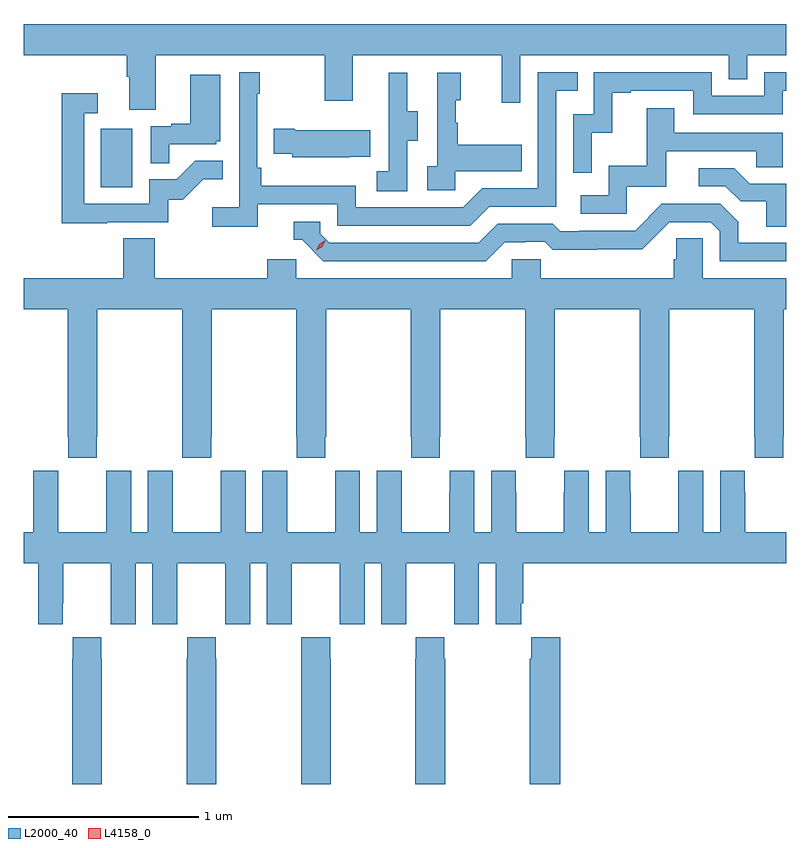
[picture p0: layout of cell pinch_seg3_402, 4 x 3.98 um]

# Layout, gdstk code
import gdstk
lib = gdstk.Library(unit=1e-6, precision=1e-09)
def R(c, l, rs):  # rectangles x0, y0, x1, y1
    for r in rs: c.add(gdstk.rectangle(r[:2], r[2:], *l))
def P(c, l, *ps):  # polygons
    for p in ps: c.add(gdstk.Polygon(p, *l))
L2000_40 = (2000, 40)
L4158_0 = (4158, 0)

pinch_seg3_402 = lib.new_cell('pinch_seg3_402')
R(pinch_seg3_402, L2000_40, [(912.794,696.228,912.958,696.535)])
P(pinch_seg3_402, L2000_40, [(912.388,696.92),(912.929,696.92),(912.929,696.808),(912.941,696.808),(912.941,696.634),(913.081,696.634),(913.081,696.92),(913.966,696.92),(913.966,696.681),(914.113,696.681),(914.113,696.92),(914.894,696.92),(914.894,696.672),(914.991,696.672),(914.991,696.92),(916.086,696.92),(916.086,696.793),(916.182,696.793),(916.182,696.92),(916.388,696.92),(916.388,697.084),(912.388,697.084)],
  [(913.616,696.138),(914.034,696.138),(914.034,696.027),(914.731,696.027),(914.83,696.126),(915.18,696.126),(915.18,696.735),(915.293,696.735),(915.293,696.831),(915.084,696.831),(915.084,696.222),(914.793,696.222),(914.694,696.123),(914.13,696.123),(914.13,696.235),(913.634,696.235),(913.634,696.331),(913.614,696.331),(913.614,696.719),(913.627,696.719),(913.627,696.832),(913.518,696.832),(913.518,696.124),(913.377,696.124),(913.377,696.022),(913.616,696.022)],
  [(915.366,696.515),(915.476,696.515),(915.476,696.723),(915.571,696.723),(915.571,696.735),(915.9,696.735),(915.9,696.612),(916.368,696.612),(916.368,696.735),(916.388,696.735),(916.388,696.831),(916.272,696.831),(916.272,696.708),(915.996,696.708),(915.996,696.831),(915.378,696.831),(915.378,696.612),(915.27,696.612),(915.27,696.303),(915.366,696.303)],
  [(914.4,696.472),(914.455,696.472),(914.455,696.627),(914.401,696.627),(914.401,696.829),(914.303,696.829),(914.303,696.615),(914.304,696.615),(914.304,696.311),(914.241,696.311),(914.241,696.208),(914.4,696.208)],
  [(914.652,696.311),(914.999,696.311),(914.999,696.451),(914.665,696.451),(914.665,696.566),(914.655,696.566),(914.655,696.684),(914.68,696.684),(914.68,696.829),(914.556,696.829),(914.556,696.338),(914.505,696.338),(914.505,696.213),(914.652,696.213)],
  [(913.151,696.453),(913.398,696.453),(913.398,696.468),(913.42,696.468),(913.42,696.817),(913.262,696.817),(913.262,696.562),(913.163,696.562),(913.163,696.549),(913.056,696.549),(913.056,696.355),(913.151,696.355)],
  [(912.827,696.045),(913.146,696.045),(913.146,696.162),(913.222,696.162),(913.329,696.269),(913.433,696.269),(913.433,696.368),(913.289,696.368),(913.191,696.27),(913.047,696.27),(913.047,696.141),(912.705,696.141),(912.705,696.615),(912.778,696.615),(912.778,696.721),(912.589,696.721),(912.589,696.04),(912.827,696.04)],
  [(915.552,696.231),(915.757,696.231),(915.757,696.417),(916.231,696.417),(916.231,696.333),(916.368,696.333),(916.368,696.513),(915.799,696.513),(915.799,696.643),(915.655,696.643),(915.655,696.34),(915.456,696.34),(915.456,696.186),(915.309,696.186),(915.309,696.09),(915.552,696.09)],
  [(914.099,696.389),(914.207,696.389),(914.207,696.526),(913.81,696.526),(913.81,696.534),(913.699,696.534),(913.699,696.404),(913.797,696.404),(913.797,696.386),(914.099,696.386)],
  [(916.388,696.246),(916.195,696.246),(916.114,696.327),(915.927,696.327),(915.927,696.234),(916.068,696.234),(916.148,696.154),(916.283,696.154),(916.283,696.022),(916.388,696.022)],
  [(914.911,695.94),(915.018,695.94),(915.018,695.943),(915.121,695.943),(915.163,695.901),(915.396,695.901),(915.396,695.903),(915.632,695.903),(915.774,696.045),(915.99,696.045),(916.038,695.997),(916.038,695.841),(916.388,695.841),(916.388,695.937),(916.135,695.937),(916.135,696.047),(916.041,696.141),(915.735,696.141),(915.594,696),(915.301,696),(915.301,695.997),(915.202,695.997),(915.163,696.036),(914.874,696.036),(914.775,695.937),(913.992,695.937),(913.944,695.985),(913.944,696.048),(913.805,696.048),(913.805,695.952),(913.848,695.952),(913.959,695.841),(914.812,695.841)],
  [(913.219,694.921),(913.221,694.921),(913.221,694.809),(913.371,694.809),(913.371,694.921),(913.374,694.921),(913.374,695.588),(913.819,695.588),(913.819,694.921),(913.821,694.921),(913.821,694.809),(913.971,694.809),(913.971,694.921),(913.974,694.921),(913.974,695.588),(914.419,695.588),(914.419,694.921),(914.421,694.921),(914.421,694.809),(914.571,694.809),(914.571,694.921),(914.574,694.921),(914.574,695.588),(915.019,695.588),(915.019,694.921),(915.021,694.921),(915.021,694.809),(915.171,694.809),(915.171,694.921),(915.174,694.921),(915.174,695.588),(915.619,695.588),(915.619,694.921),(915.621,694.921),(915.621,694.809),(915.771,694.809),(915.771,694.921),(915.774,694.921),(915.774,695.588),(916.219,695.588),(916.219,694.921),(916.221,694.921),(916.221,694.809),(916.371,694.809),(916.371,694.921),(916.374,694.921),(916.374,695.588),(916.388,695.588),(916.388,695.752),(915.948,695.752),(915.948,695.96),(915.811,695.96),(915.811,695.85),(915.797,695.85),(915.797,695.752),(915.099,695.752),(915.099,695.85),(914.949,695.85),(914.949,695.752),(913.818,695.752),(913.818,695.85),(913.667,695.85),(913.667,695.752),(913.076,695.752),(913.076,695.96),(912.911,695.96),(912.911,695.752),(912.388,695.752),(912.388,695.588),(912.619,695.588),(912.619,694.921),(912.621,694.921),(912.621,694.809),(912.771,694.809),(912.771,694.921),(912.774,694.921),(912.774,695.588),(913.219,695.588)],
  [(912.594,694.048),(912.595,694.048),(912.595,694.256),(912.845,694.256),(912.845,694.048),(912.846,694.048),(912.846,693.936),(912.976,693.936),(912.976,694.256),(913.064,694.256),(913.064,693.936),(913.194,693.936),(913.194,694.048),(913.195,694.048),(913.195,694.256),(913.445,694.256),(913.445,694.048),(913.446,694.048),(913.446,693.936),(913.576,693.936),(913.576,694.256),(913.664,694.256),(913.664,693.936),(913.794,693.936),(913.794,694.048),(913.795,694.048),(913.795,694.256),(914.045,694.256),(914.045,694.048),(914.046,694.048),(914.046,693.936),(914.176,693.936),(914.176,694.256),(914.264,694.256),(914.264,693.936),(914.394,693.936),(914.394,694.048),(914.395,694.048),(914.395,694.256),(914.645,694.256),(914.645,694.048),(914.646,694.048),(914.646,693.936),(914.776,693.936),(914.776,694.256),(914.864,694.256),(914.864,693.936),(914.998,693.936),(914.998,694.048),(915.008,694.048),(915.008,694.256),(916.388,694.256),(916.388,694.42),(916.171,694.42),(916.171,694.628),(916.17,694.628),(916.17,694.741),(916.04,694.741),(916.04,694.42),(915.952,694.42),(915.952,694.741),(915.822,694.741),(915.822,694.628),(915.821,694.628),(915.821,694.42),(915.571,694.42),(915.571,694.628),(915.57,694.628),(915.57,694.741),(915.44,694.741),(915.44,694.42),(915.352,694.42),(915.352,694.741),(915.222,694.741),(915.222,694.628),(915.221,694.628),(915.221,694.42),(914.971,694.42),(914.971,694.628),(914.97,694.628),(914.97,694.741),(914.84,694.741),(914.84,694.42),(914.752,694.42),(914.752,694.741),(914.622,694.741),(914.622,694.628),(914.621,694.628),(914.621,694.42),(914.371,694.42),(914.371,694.628),(914.37,694.628),(914.37,694.741),(914.24,694.741),(914.24,694.42),(914.152,694.42),(914.152,694.741),(914.022,694.741),(914.022,694.628),(914.021,694.628),(914.021,694.42),(913.771,694.42),(913.771,694.628),(913.77,694.628),(913.77,694.741),(913.64,694.741),(913.64,694.42),(913.552,694.42),(913.552,694.741),(913.422,694.741),(913.422,694.628),(913.421,694.628),(913.421,694.42),(913.171,694.42),(913.171,694.628),(913.17,694.628),(913.17,694.741),(913.04,694.741),(913.04,694.42),(912.952,694.42),(912.952,694.741),(912.822,694.741),(912.822,694.628),(912.821,694.628),(912.821,694.42),(912.571,694.42),(912.571,694.628),(912.57,694.628),(912.57,694.741),(912.44,694.741),(912.44,694.42),(912.388,694.42),(912.388,694.256),(912.464,694.256),(912.464,693.936),(912.594,693.936)],
  [(914.598,693.755),(914.595,693.755),(914.595,693.868),(914.445,693.868),(914.445,693.755),(914.443,693.755),(914.443,693.099),(914.598,693.099)],
  [(912.798,693.755),(912.795,693.755),(912.795,693.868),(912.645,693.868),(912.645,693.755),(912.643,693.755),(912.643,693.099),(912.798,693.099)],
  [(913.398,693.755),(913.395,693.755),(913.395,693.868),(913.245,693.868),(913.245,693.755),(913.243,693.755),(913.243,693.099),(913.398,693.099)],
  [(913.998,693.755),(913.995,693.755),(913.995,693.868),(913.845,693.868),(913.845,693.755),(913.843,693.755),(913.843,693.099),(913.998,693.099)],
  [(915.203,693.868),(915.049,693.868),(915.049,693.755),(915.043,693.755),(915.043,693.099),(915.203,693.099)])
P(pinch_seg3_402, L4158_0, [(913.922,695.898),(913.922,695.898),(913.938,695.93),(913.969,695.95),(913.969,695.95),(913.969,695.95),(913.953,695.917),(913.923,695.898)])

lib.write_gds('pinch_seg3_402.gds')
